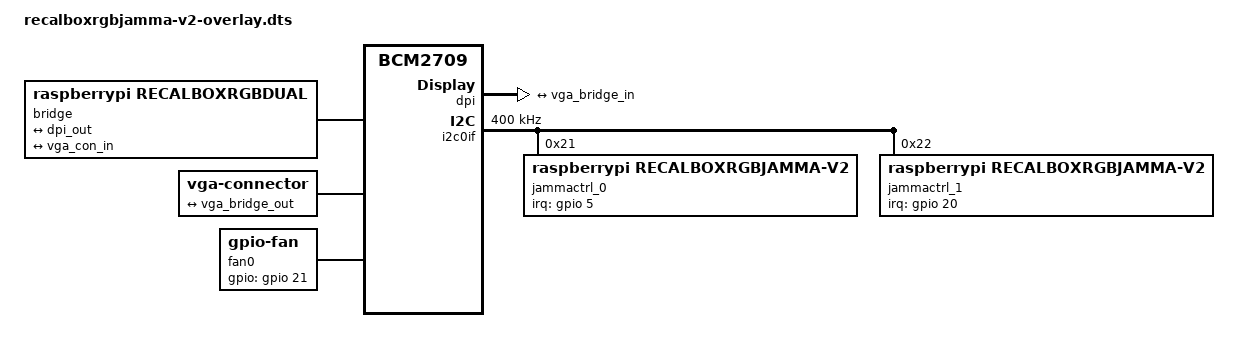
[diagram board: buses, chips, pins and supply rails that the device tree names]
/dts-v1/;
/plugin/;

/ {
	compatible = "brcm,bcm2835", "brcm,bcm2708", "brcm,bcm2709";
  fragment@0 {
      target = <&gpio>;
      __overlay__ {
        switch36_gpio: switch36_gpio_conf {
          brcm,pins = <4>; // GPIO 4
          brcm,function = <0>; // Input
          brcm,pull = <2>; // Pull up
        };
        irq_gpio_5: irq_gpio_5_conf {
          brcm,pins = <5>; // GPIO 5
          brcm,function = <0>; // Input
          brcm,pull = <2>; // Pull up
        };
        irq_gpio_20: irq_gpio_20_conf {
          brcm,pins = <20>; // GPIO 20
          brcm,function = <0>; // Input
          brcm,pull = <2>; // Pull up
        };

      };
  };

	fragment@1 {
		target-path = "/";
		__overlay__ {

			bridge: recalboxrgbjamma {
				compatible = "raspberrypi,recalboxrgbdual";
				#address-cells = <1>;
				#size-cells = <0>;

				vc4-vga666-mode = <8>;
				recalbox-rgb-jamma = <1>;

				ports {
					#address-cells = <1>;
					#size-cells = <0>;

					port@0 {
						reg = <0>;

						vga_bridge_in: endpoint {
							remote-endpoint = <&dpi_out>;
						};
					};

					port@1 {
						reg = <1>;

						vga_bridge_out: endpoint {
							remote-endpoint = <&vga_con_in>;
						};
					};
				};
			};

			vga {
				compatible = "vga-connector";

				port {
					vga_con_in: endpoint {
						remote-endpoint = <&vga_bridge_out>;
					};
				};
			};
		};
	};

	fragment@2 {
		target = <&dpi>;
		__overlay__  {
			status = "okay";
			port {
				dpi_out: endpoint@0 {
					remote-endpoint = <&vga_bridge_in>;
				};
			};
		};
	};

	fragment@3 {
		target = <&dpi>;
		__overlay__  {
			status = "okay";
			pinctrl-names = "default";
			pinctrl-0 = <&vga888_mode8_pins>;
		};
	};

	fragment@4 {
		target = <&gpio>;
		__overlay__ {
			vga888_mode8_pins: vga888_mode8_pins {
				brcm,pins = <2 3
				      6 7 8 9 10 11
				      14 15 16 17 18 19
				      22 23 24 25 26 27>;
				brcm,function = <6>;
				brcm,pull = <0>;
			};
		};
	};

	fragment@5 {
		target = <&audio_pins>;
		__overlay__ {
			brcm,pins = < 12 13 >;
			brcm,function = < 4 4 >; /* alt0 alt0 */
		};
	};

	fragment@6 {
		target = <&audio>;
		__overlay__  {
			brcm,disable-headphones = <0>;
		};
	};

  fragment@8 {
    target = <&i2c0if>;
    __overlay__ {
      status = "okay";
      pinctrl-names = "default";
      pinctrl-0 = <&i2c0_pins>, <&switch36_gpio>;
      switch36-gpios = <&gpio 4 0>;
      clock-frequency = <400000>;
      jammactrl_0: jammactrl_0@21 {
        compatible = "raspberrypi,recalboxrgbjamma-v2";
        reg = <0x21>;
        status = "okay";
        pinctrl-names = "default";
        pinctrl-0 = <&irq_gpio_5>;
        interrupt-parent = <&gpio>;
        interrupts = <5 2>;
        irq-gpios = <&gpio 5 0>;
      };
      jammactrl_1: jammactrl_1@22 {
        compatible = "raspberrypi,recalboxrgbjamma-v2";
        reg = <0x22>;
        status = "okay";
        pinctrl-names = "default";
        pinctrl-0 = <&irq_gpio_20>;
        interrupt-parent = <&gpio>;
        interrupts = <20 2>;
        irq-gpios = <&gpio 20 0>;
      };
    };
  };

  fragment@9 {
		target = <&i2c0_pins>;
		__overlay__ {
			brcm,pins = <0 1>;
		};
	};


  fragment@10 {
    target-path = "/";
    __overlay__ {
      fan0: gpio-fan@0 {
        compatible = "gpio-fan";
        gpios = <&gpio 21 0>;
        gpio-fan,speed-map = <0 0>,<5000 1>;
        #cooling-cells = <2>;
      };
    };
  };

  fragment@11 {
    target = <&cpu_thermal>;
    polling-delay = <5000>;	/* milliseconds */
    __overlay__ {
      trips {
        cpu_hot: trip-point@0 {
          temperature = <60000>;	/* (millicelsius) Fan started at 60°C */
          hysteresis = <10000>;	/* (millicelsius) Fan stopped at 50°C */
          type = "active";
        };
      };
      cooling-maps {
        map0 {
          trip = <&cpu_hot>;
          cooling-device = <&fan0 1 1>;
        };
      };
    };
  };
};
